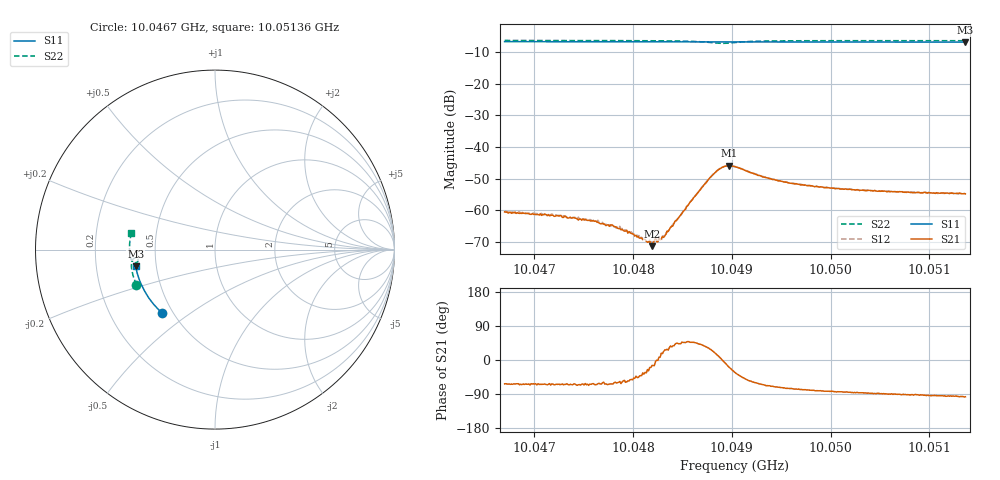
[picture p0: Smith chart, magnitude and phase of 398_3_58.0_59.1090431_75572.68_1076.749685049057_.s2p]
#  HZ  S  RI  R  50.00
! Rohde & Schwarz Vector Network Analyzer
! Rohde-Schwarz,ZNB20-2Port,1311601062101988,3.16
! Created: UTC 3/21/2024, 1:08:08 AM
! freq[Hz]  re:S11  im:S11  re:S21  im:S21  re:S12  im:S12  re:S22  im:S22
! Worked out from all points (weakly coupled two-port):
!   401 points, 10.0467 GHz to 10.05136 GHz, reference 50 ohm
!   highest |S21| = -45.97 dB at 10.04897 GHz (marker M1); lowest = -71.4 dB at 10.04819 GHz (marker M2)
!   lowest |S11| = -6.9 dB at 10.05136 GHz (marker M3), VSWR 2.65, Z = 19.1 - j4.49 ohm
!   |S11| at or under -10 dB: nowhere
!   |S22| runs from -7.3 to -6.4 dB; largest |S21 - S12| = 0.00033
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1.0046699e10  -0.2928 -0.3551  0.000428 -0.000837  0.000477 -0.000802  -0.4379 -0.1977
1.0047248e10  -0.319 -0.33  0.00036 -0.000725  0.000382 -0.000735  -0.4508 -0.1628
1.0047481e10  -0.3295 -0.3188  0.000306 -0.000621  0.000354 -0.000643  -0.4555 -0.1475
1.0047667e10  -0.3376 -0.3097  0.000276 -0.000547  0.000327 -0.000565  -0.4589 -0.1349
1.0047796e10  -0.3432 -0.3032  0.000256 -0.000512  0.000329 -0.000508  -0.4611 -0.126
1.0047982e10  -0.3509 -0.2934  0.000267 -0.000334  0.000313 -0.000327  -0.4636 -0.1125
1.0048169e10  -0.3583 -0.2837  0.000318 -0.000114  0.000313 -0.000121  -0.4654 -0.0984
1.0048192e10  -0.3593 -0.2826  0.000261 -6.68e-05  0.000313 -6.5e-05  -0.4655 -0.0968
1.0048239e10  -0.3612 -0.2801  0.000319 -2.09e-06  0.00032 9.23e-06  -0.4659 -0.0929
1.0048262e10  -0.362 -0.2789  0.000364 4.54e-05  0.000342 6.44e-05  -0.4659 -0.0911
1.0048332e10  -0.3647 -0.2751  0.000371 0.000188  0.00037 0.000222  -0.466 -0.0854
1.0048601e10  -0.3746 -0.2605  0.001 0.00106  0.000972 0.00112  -0.4611 -0.0604
1.0048799e10  -0.3814 -0.2493  0.00317 0.00149  0.00311 0.00169  -0.4412 -0.0464
1.0048892e10  -0.3845 -0.2443  0.00465 0.000229  0.00467 0.000516  -0.4293 -0.0546
1.0048974e10  -0.3872 -0.2397  0.00474 -0.00167  0.00489 -0.00138  -0.4315 -0.0678
1.0049032e10  -0.389 -0.2366  0.00409 -0.00266  0.00426 -0.0024  -0.4397 -0.0724
1.0049394e10  -0.4006 -0.2157  0.00111 -0.00293  0.0013 -0.00287  -0.4699 -0.0474
1.0049592e10  -0.4064 -0.204  0.00068 -0.00259  0.000837 -0.00256  -0.474 -0.0308
1.0049813e10  -0.4125 -0.1907  0.000413 -0.00237  0.000567 -0.00235  -0.4758 -0.0138
1.0050117e10  -0.4198 -0.1724  0.000232 -0.00214  0.000332 -0.00215  -0.4765 0.00832
1.0050595e10  -0.4301 -0.1426  7.71e-06 -0.00196  0.000121 -0.00199  -0.4749 0.0415
1.0051365e10  -0.4421 -0.0938  -0.000221 -0.0018  -7.98e-05 -0.00182  -0.4672 0.0929
